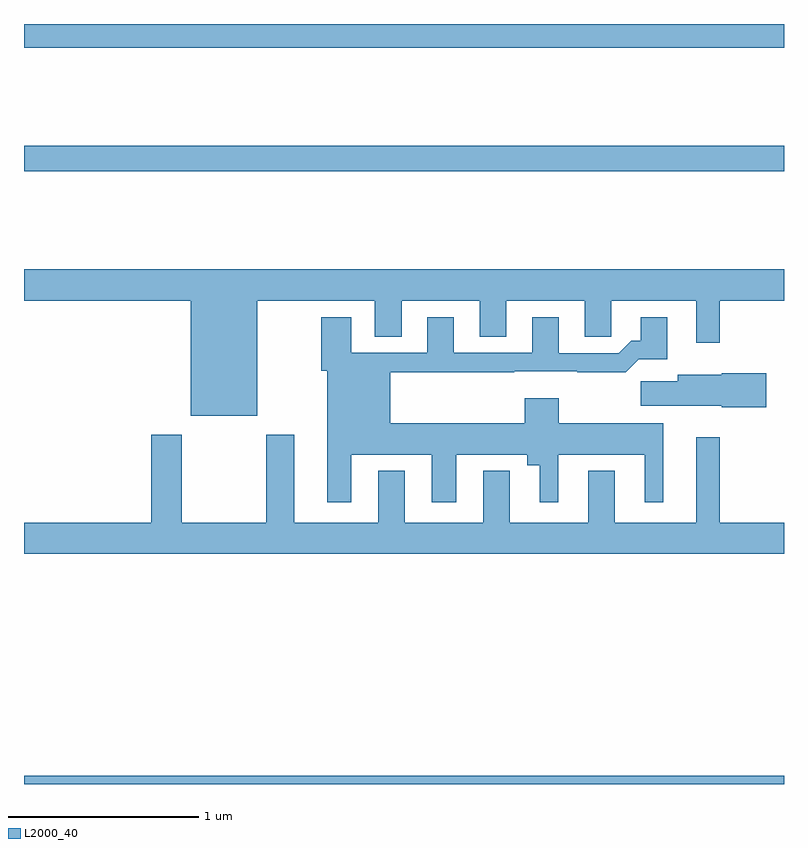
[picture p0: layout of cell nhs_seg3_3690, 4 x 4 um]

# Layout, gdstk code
import gdstk
lib = gdstk.Library(unit=1e-6, precision=1e-09)
def R(c, l, rs):  # rectangles x0, y0, x1, y1
    for r in rs: c.add(gdstk.rectangle(r[:2], r[2:], *l))
def P(c, l, *ps):  # polygons
    for p in ps: c.add(gdstk.Polygon(p, *l))
L2000_40 = (2000, 40)

nhs_seg3_3690 = lib.new_cell('nhs_seg3_3690')
R(nhs_seg3_3690, L2000_40, [(303,670.4,307,670.444), (303,673.624,307,673.76), (303,674.276,307,674.4)])
P(nhs_seg3_3690, L2000_40, [(304.228,672.944),(304.847,672.944),(304.847,672.754),(304.987,672.754),(304.987,672.944),(305.399,672.944),(305.399,672.754),(305.539,672.754),(305.539,672.944),(305.951,672.944),(305.951,672.754),(306.09,672.754),(306.09,672.944),(306.539,672.944),(306.539,672.723),(306.661,672.723),(306.661,672.944),(307,672.944),(307,673.108),(303,673.108),(303,672.944),(303.878,672.944),(303.878,672.338),(304.228,672.338)],
  [(304.723,672.134),(305.147,672.134),(305.147,671.883),(305.275,671.883),(305.275,672.134),(305.648,672.134),(305.648,672.077),(305.714,672.077),(305.714,671.883),(305.812,671.883),(305.812,672.134),(306.266,672.134),(306.266,671.883),(306.364,671.883),(306.364,672.298),(305.814,672.298),(305.814,672.43),(305.636,672.43),(305.636,672.298),(304.927,672.298),(304.927,672.568),(305.579,672.568),(305.579,672.572),(305.911,672.572),(305.911,672.566),(306.167,672.566),(306.236,672.635),(306.385,672.635),(306.385,672.856),(306.245,672.856),(306.245,672.733),(306.196,672.733),(306.129,672.666),(305.815,672.666),(305.815,672.856),(305.675,672.856),(305.675,672.669),(305.263,672.669),(305.263,672.856),(305.123,672.856),(305.123,672.669),(304.723,672.669),(304.723,672.856),(304.564,672.856),(304.564,672.576),(304.595,672.576),(304.595,671.883),(304.723,671.883)],
  [(306.907,672.561),(306.672,672.561),(306.672,672.553),(306.44,672.553),(306.44,672.521),(306.246,672.521),(306.246,672.392),(306.672,672.392),(306.672,672.383),(306.907,672.383)],
  [(307,671.776),(306.661,671.776),(306.661,672.226),(306.539,672.226),(306.539,671.776),(306.109,671.776),(306.109,672.049),(305.969,672.049),(305.969,671.776),(305.557,671.776),(305.557,672.049),(305.417,672.049),(305.417,671.776),(305.005,671.776),(305.005,672.049),(304.865,672.049),(304.865,671.776),(304.423,671.776),(304.423,672.238),(304.276,672.238),(304.276,671.776),(303.831,671.776),(303.831,672.238),(303.671,672.238),(303.671,671.776),(303,671.776),(303,671.612),(307,671.612)])

lib.write_gds('nhs_seg3_3690.gds')
